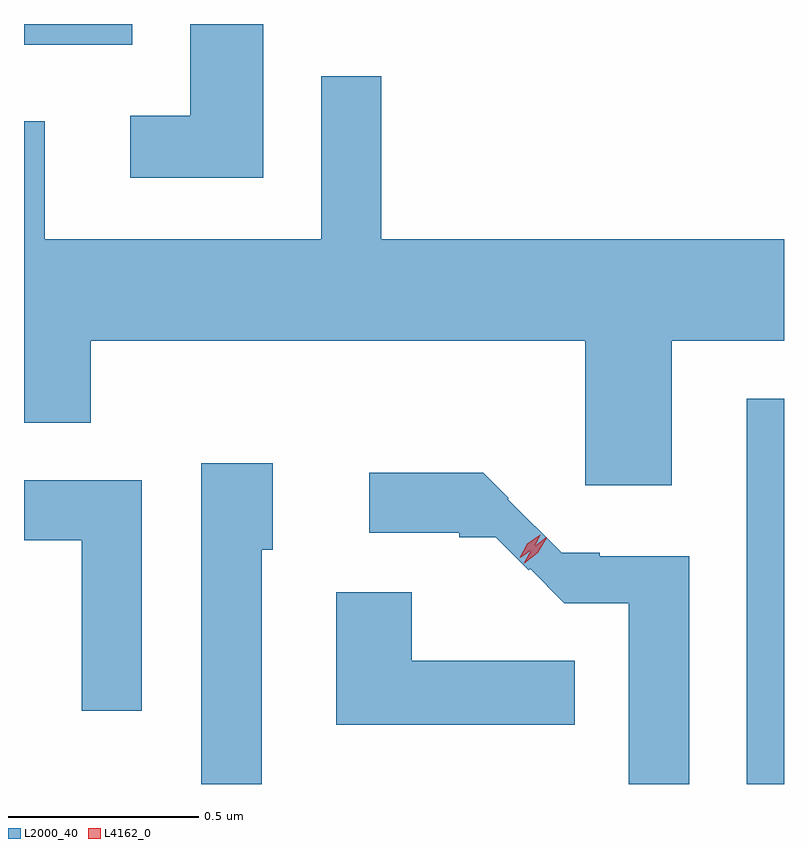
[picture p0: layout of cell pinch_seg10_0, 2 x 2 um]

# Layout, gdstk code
import gdstk
lib = gdstk.Library(unit=1e-6, precision=1e-09)
def R(c, l, rs):  # rectangles x0, y0, x1, y1
    for r in rs: c.add(gdstk.rectangle(r[:2], r[2:], *l))
def P(c, l, *ps):  # polygons
    for p in ps: c.add(gdstk.Polygon(p, *l))
L2000_40 = (2000, 40)
L4162_0 = (4162, 0)

pinch_seg10_0 = lib.new_cell('pinch_seg10_0')
R(pinch_seg10_0, L2000_40, [(1092.536,2203.77,1092.634,2204.784), (1090.634,2205.716,1090.919,2205.77)])
P(pinch_seg10_0, L2000_40, [(1091.264,2205.77),(1091.071,2205.77),(1091.071,2205.529),(1090.913,2205.529),(1090.913,2205.366),(1091.264,2205.366)],
  [(1092.339,2204.936),(1092.634,2204.936),(1092.634,2205.204),(1091.574,2205.204),(1091.574,2205.633),(1091.416,2205.633),(1091.416,2205.204),(1090.689,2205.204),(1090.689,2205.514),(1090.634,2205.514),(1090.634,2204.721),(1090.809,2204.721),(1090.809,2204.936),(1092.111,2204.936),(1092.111,2204.556),(1092.339,2204.556)],
  [(1091.259,2204.386),(1091.289,2204.386),(1091.289,2204.614),(1091.101,2204.614),(1091.101,2203.77),(1091.259,2203.77)],
  [(1092.384,2204.37),(1092.149,2204.37),(1092.149,2204.379),(1092.049,2204.379),(1091.907,2204.52),(1091.909,2204.522),(1091.842,2204.589),(1091.543,2204.589),(1091.543,2204.431),(1091.779,2204.431),(1091.779,2204.42),(1091.875,2204.42),(1091.962,2204.333),(1091.966,2204.337),(1092.056,2204.246),(1092.226,2204.246),(1092.226,2203.77),(1092.384,2203.77)],
  [(1090.944,2204.569),(1090.634,2204.569),(1090.634,2204.411),(1090.786,2204.411),(1090.786,2203.963),(1090.944,2203.963)],
  [(1092.083,2204.094),(1091.654,2204.094),(1091.654,2204.274),(1091.456,2204.274),(1091.456,2203.926),(1092.083,2203.926)])
P(pinch_seg10_0, L4162_0, [(1091.949,2204.35),(1091.949,2204.35),(1091.972,2204.391),(1092.008,2204.419),(1092.009,2204.419),(1092.009,2204.418),(1091.986,2204.378),(1091.949,2204.35)],
  [(1091.939,2204.365),(1091.939,2204.366),(1091.958,2204.402),(1091.992,2204.426),(1091.993,2204.426),(1091.993,2204.425),(1091.974,2204.389),(1091.94,2204.365)])

lib.write_gds('pinch_seg10_0.gds')
